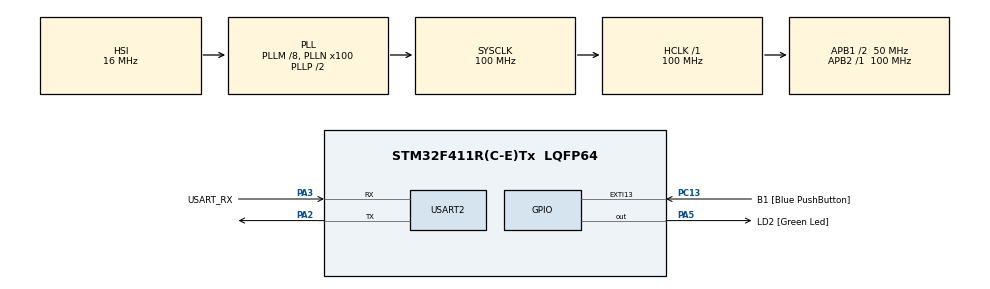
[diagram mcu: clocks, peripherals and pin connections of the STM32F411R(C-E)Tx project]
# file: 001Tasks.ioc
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Mcu.Family=STM32F4
Mcu.Name=STM32F411R(C-E)Tx
Mcu.Package=LQFP64
NVIC.PriorityGroup=NVIC_PRIORITYGROUP_4
NVIC.TIM5_IRQn=true\:0\:0\:false\:false\:true\:false\:true
NVIC.TimeBase=TIM5_IRQn
NVIC.TimeBaseIP=TIM5
PA13.GPIO_Label=TMS
PA13.Signal=SYS_JTMS-SWDIO
PA14.GPIO_Label=TCK
PA14.Signal=SYS_JTCK-SWCLK
PA2.Mode=Asynchronous
PA2.Signal=USART2_TX
PA3.GPIO_Label=USART_RX
PA3.Mode=Asynchronous
PA3.Signal=USART2_RX
PA5.GPIO_Label=LD2 [Green Led]
PA5.Signal=GPIO_Output
PB3.GPIO_Label=SWO
PB3.Signal=SYS_JTDO-SWO
PC13-ANTI_TAMP.GPIO_Label=B1 [Blue PushButton]
PC13-ANTI_TAMP.GPIO_ModeDefaultEXTI=GPIO_MODE_IT_FALLING
PC13-ANTI_TAMP.Signal=GPXTI13
PC14-OSC32_IN.Signal=RCC_OSC32_IN
PC15-OSC32_OUT.Signal=RCC_OSC32_OUT
PH0\ -\ OSC_IN.Signal=RCC_OSC_IN
PH1\ -\ OSC_OUT.Signal=RCC_OSC_OUT
ProjectManager.HeapSize=0x200
ProjectManager.StackSize=0x400
ProjectManager.TargetToolchain=STM32CubeIDE
RCC.48MHZClocksFreq_Value=50000000
RCC.AHBFreq_Value=100000000
RCC.APB1CLKDivider=RCC_HCLK_DIV2
RCC.APB1Freq_Value=50000000
RCC.APB1TimFreq_Value=100000000
RCC.APB2Freq_Value=100000000
RCC.APB2TimFreq_Value=100000000
RCC.CortexFreq_Value=100000000
RCC.FLatency-AdvancedSettings=FLASH_LATENCY_3
RCC.HCLKFreq_Value=100000000
RCC.HSE_VALUE=8000000
RCC.HSI_VALUE=16000000
RCC.LSE_VALUE=32768
RCC.PLLM=8
RCC.PLLN=100
RCC.SYSCLKFreq_VALUE=100000000
RCC.SYSCLKSource=RCC_SYSCLKSOURCE_PLLCLK
RCC.VCOOutputFreq_Value=200000000
USART2.VirtualMode=VM_ASYNC
VP_SYS_VS_tim5.Mode=TIM5
board=NUCLEO-F411RE

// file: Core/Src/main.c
/* USER CODE BEGIN Header */
/**
  ******************************************************************************
  * @file           : main.c
  * @brief          : Main program body
  ******************************************************************************
  * @attention
  *
  * <h2><center>&copy; Copyright (c) 2022 STMicroelectronics.
  * All rights reserved.</center></h2>
  *
  * This software component is licensed by ST under BSD 3-Clause license,
  * the "License"; You may not use this file except in compliance with the
  * License. You may obtain a copy of the License at:
  *                        opensource.org/licenses/BSD-3-Clause
  *
  ******************************************************************************
  */
/* USER CODE END Header */
#include "main.h"

/* USER CODE BEGIN Includes */
#include <stdio.h>
#include "FreeRTOS.h"
#include "task.h"

/* USER CODE END Includes */

UART_HandleTypeDef huart2;

/* USER CODE BEGIN PV */

#define DWT_CTRL	(*(volatile uint32_t*) 0xE0001000)

/* USER CODE END PV */

void SystemClock_Config(void);
static void MX_GPIO_Init(void);
static void MX_USART2_UART_Init(void);
/* USER CODE BEGIN PFP */

static void task1_handler(void* parameters);
static void task2_handler(void* parameters);

//extern void SEGGER_UART_init(uint32_t);
/* USER CODE END PFP */

int main(void)
{
  /* USER CODE BEGIN 1 */

	TaskHandle_t task1_handle;
	TaskHandle_t task2_handle;

	BaseType_t status;

  /* USER CODE END 1 */

  /* MCU Configuration--------------------------------------------------------*/

  /* Reset of all peripherals, Initializes the Flash interface and the Systick. */
  HAL_Init();

  /* Configure the system clock */
  SystemClock_Config();

  /* Initialize all configured peripherals */
  MX_GPIO_Init();
  MX_USART2_UART_Init();
  /* USER CODE BEGIN 2 */

  //Enabling the CYCCNT counter
  DWT_CTRL |= ( 1 << 0);

  SEGGER_UART_init(250000);

  SEGGER_SYSVIEW_Conf();

  //SEGGER_SYSVIEW_Start();

  status = xTaskCreate(task1_handler, "Task-1", 200, "Hello World from Task-1", 2, &task1_handle);

  configASSERT(status == pdPASS);

  status = xTaskCreate(task2_handler, "Task-2", 200, "Hello World from Task-2", 2, &task2_handle);

  configASSERT(status == pdPASS);

  //start the freeRTOS scheduler
  vTaskStartScheduler();

  /* USER CODE END 2 */

  /* Infinite loop */
  while (1)
  {

  }
}

void SystemClock_Config(void)
{
  RCC_OscInitTypeDef RCC_OscInitStruct = {0};
  RCC_ClkInitTypeDef RCC_ClkInitStruct = {0};

  /** Configure the main internal regulator output voltage
  */
  __HAL_RCC_PWR_CLK_ENABLE();
  __HAL_PWR_VOLTAGESCALING_CONFIG(PWR_REGULATOR_VOLTAGE_SCALE1);
  /** Initializes the RCC Oscillators according to the specified parameters
  * in the RCC_OscInitTypeDef structure.
  */
  RCC_OscInitStruct.OscillatorType = RCC_OSCILLATORTYPE_HSI;
  RCC_OscInitStruct.HSIState = RCC_HSI_ON;
  RCC_OscInitStruct.HSICalibrationValue = RCC_HSICALIBRATION_DEFAULT;
  RCC_OscInitStruct.PLL.PLLState = RCC_PLL_ON;
  RCC_OscInitStruct.PLL.PLLSource = RCC_PLLSOURCE_HSI;
  RCC_OscInitStruct.PLL.PLLM = 8;
  RCC_OscInitStruct.PLL.PLLN = 100;
  RCC_OscInitStruct.PLL.PLLP = RCC_PLLP_DIV2;
  RCC_OscInitStruct.PLL.PLLQ = 4;
  if (HAL_RCC_OscConfig(&RCC_OscInitStruct) != HAL_OK)
  {
    Error_Handler();
  }
  /** Initializes the CPU, AHB and APB buses clocks
  */
  RCC_ClkInitStruct.ClockType = RCC_CLOCKTYPE_HCLK|RCC_CLOCKTYPE_SYSCLK
                              |RCC_CLOCKTYPE_PCLK1|RCC_CLOCKTYPE_PCLK2;
  RCC_ClkInitStruct.SYSCLKSource = RCC_SYSCLKSOURCE_PLLCLK;
  RCC_ClkInitStruct.AHBCLKDivider = RCC_SYSCLK_DIV1;
  RCC_ClkInitStruct.APB1CLKDivider = RCC_HCLK_DIV2;
  RCC_ClkInitStruct.APB2CLKDivider = RCC_HCLK_DIV1;

  if (HAL_RCC_ClockConfig(&RCC_ClkInitStruct, FLASH_LATENCY_3) != HAL_OK)
  {
    Error_Handler();
  }
}

static void MX_USART2_UART_Init(void)
{

  huart2.Instance = USART2;
  huart2.Init.BaudRate = 115200;
  huart2.Init.WordLength = UART_WORDLENGTH_8B;
  huart2.Init.StopBits = UART_STOPBITS_1;
  huart2.Init.Parity = UART_PARITY_NONE;
  huart2.Init.Mode = UART_MODE_TX_RX;
  huart2.Init.HwFlowCtl = UART_HWCONTROL_NONE;
  huart2.Init.OverSampling = UART_OVERSAMPLING_16;
  if (HAL_UART_Init(&huart2) != HAL_OK)
  {
    Error_Handler();
  }

}

static void MX_GPIO_Init(void)
{
  GPIO_InitTypeDef GPIO_InitStruct = {0};

  /* GPIO Ports Clock Enable */
  __HAL_RCC_GPIOC_CLK_ENABLE();
  __HAL_RCC_GPIOH_CLK_ENABLE();
  __HAL_RCC_GPIOA_CLK_ENABLE();
  __HAL_RCC_GPIOB_CLK_ENABLE();

  /*Configure GPIO pin Output Level */
  HAL_GPIO_WritePin(LD2_GPIO_Port, LD2_Pin, GPIO_PIN_RESET);

  /*Configure GPIO pin : B1_Pin */
  GPIO_InitStruct.Pin = B1_Pin;
  GPIO_InitStruct.Mode = GPIO_MODE_IT_FALLING;
  GPIO_InitStruct.Pull = GPIO_NOPULL;
  HAL_GPIO_Init(B1_GPIO_Port, &GPIO_InitStruct);

  /*Configure GPIO pin : LD2_Pin */
  GPIO_InitStruct.Pin = LD2_Pin;
  GPIO_InitStruct.Mode = GPIO_MODE_OUTPUT_PP;
  GPIO_InitStruct.Pull = GPIO_NOPULL;
  GPIO_InitStruct.Speed = GPIO_SPEED_FREQ_LOW;
  HAL_GPIO_Init(LD2_GPIO_Port, &GPIO_InitStruct);

}

/* USER CODE BEGIN 4 */

static void task1_handler(void* parameters)
{
	char msg[100];

	while(1)
	{
		snprintf(msg,100,"%s\n",(char*)parameters);
		SEGGER_SYSVIEW_PrintfTarget(msg);
		taskYIELD();

	}

}

static void task2_handler(void* parameters)
{
	char msg[100];

	while(1)
	{
		snprintf(msg,100,"%s\n",(char*)parameters);
		SEGGER_SYSVIEW_PrintfTarget(msg);
		taskYIELD();

	}

}

/* USER CODE END 4 */

void HAL_TIM_PeriodElapsedCallback(TIM_HandleTypeDef *htim)
{
  if (htim->Instance == TIM5) {
    HAL_IncTick();
  }
}

void Error_Handler(void)
{
}

/************************ (C) COPYRIGHT STMicroelectronics *****END OF FILE****/
